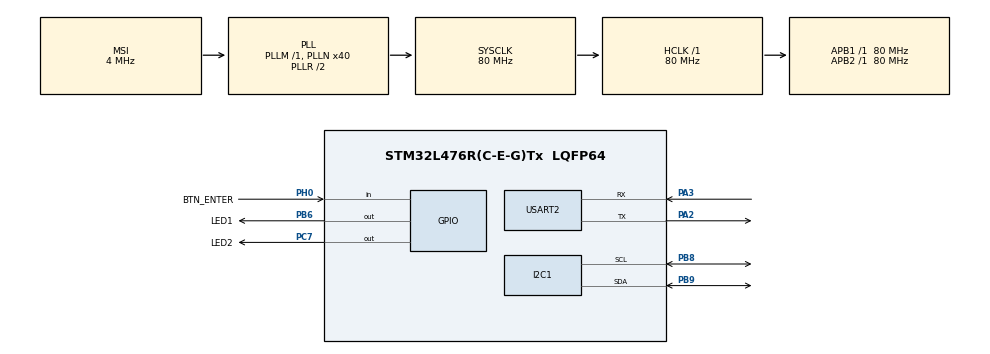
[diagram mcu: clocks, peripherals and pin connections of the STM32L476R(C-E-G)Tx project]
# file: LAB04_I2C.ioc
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I2C1.Timing=0x10D19CE4
Mcu.Family=STM32L4
Mcu.Name=STM32L476R(C-E-G)Tx
Mcu.Package=LQFP64
NVIC.PriorityGroup=NVIC_PRIORITYGROUP_4
PA2.Mode=Asynchronous
PA2.Signal=USART2_TX
PA3.Mode=Asynchronous
PA3.Signal=USART2_RX
PB6.GPIO_Label=LED1
PB6.Signal=GPIO_Output
PB8.Mode=I2C
PB8.Signal=I2C1_SCL
PB9.Mode=I2C
PB9.Signal=I2C1_SDA
PC7.GPIO_Label=LED2
PC7.Signal=GPIO_Output
PH0-OSC_IN\ (PH0).GPIO_Label=BTN_ENTER
PH0-OSC_IN\ (PH0).Signal=GPIO_Input
ProjectManager.HeapSize=0x200
ProjectManager.StackSize=0x400
ProjectManager.TargetToolchain=CMake
RCC.AHBFreq_Value=80000000
RCC.APB1Freq_Value=80000000
RCC.APB1TimFreq_Value=80000000
RCC.APB2Freq_Value=80000000
RCC.APB2TimFreq_Value=80000000
RCC.CortexFreq_Value=80000000
RCC.HCLKFreq_Value=80000000
RCC.HSE_VALUE=8000000
RCC.HSI_VALUE=16000000
RCC.LSE_VALUE=32768
RCC.MSI_VALUE=4000000
RCC.PLLN=40
RCC.SYSCLKFreq_VALUE=80000000
RCC.SYSCLKSource=RCC_SYSCLKSOURCE_PLLCLK
RCC.VCOOutputFreq_Value=160000000
USART2.VirtualMode-Asynchronous=VM_ASYNC
board=custom

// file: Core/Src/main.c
/* USER CODE BEGIN Header */
/**
 * @file main.c
 * @brief STTS22H Driver Testbench
 * @author Philipp Schilk, 2023
 */
/* USER CODE END Header */
#include "main.h"

/* USER CODE BEGIN Includes */
#include "stts22h_driver.h"
#include <inttypes.h>
#include <stdio.h>
/* USER CODE END Includes */

I2C_HandleTypeDef hi2c1;

UART_HandleTypeDef huart2;

void SystemClock_Config(void);
static void MX_GPIO_Init(void);
static void MX_USART2_UART_Init(void);
static void MX_I2C1_Init(void);
/* USER CODE BEGIN PFP */
void test_driver(void);
void wait_for_button_press(void);

/* USER CODE END PFP */

int main(void)
{

  /* MCU Configuration--------------------------------------------------------*/

  /* Reset of all peripherals, Initializes the Flash interface and the Systick. */
  HAL_Init();

  /* Configure the system clock */
  SystemClock_Config();

  /* Initialize all configured peripherals */
  MX_GPIO_Init();
  MX_USART2_UART_Init();
  MX_I2C1_Init();
  /* USER CODE BEGIN 2 */

  test_driver();

  /* USER CODE END 2 */

  /* Infinite loop */
  while (1) {

  }
}

void SystemClock_Config(void)
{
  RCC_OscInitTypeDef RCC_OscInitStruct = {0};
  RCC_ClkInitTypeDef RCC_ClkInitStruct = {0};

  /** Configure the main internal regulator output voltage
  */
  if (HAL_PWREx_ControlVoltageScaling(PWR_REGULATOR_VOLTAGE_SCALE1) != HAL_OK)
  {
    Error_Handler();
  }

  /** Initializes the RCC Oscillators according to the specified parameters
  * in the RCC_OscInitTypeDef structure.
  */
  RCC_OscInitStruct.OscillatorType = RCC_OSCILLATORTYPE_MSI;
  RCC_OscInitStruct.MSIState = RCC_MSI_ON;
  RCC_OscInitStruct.MSICalibrationValue = 0;
  RCC_OscInitStruct.MSIClockRange = RCC_MSIRANGE_6;
  RCC_OscInitStruct.PLL.PLLState = RCC_PLL_ON;
  RCC_OscInitStruct.PLL.PLLSource = RCC_PLLSOURCE_MSI;
  RCC_OscInitStruct.PLL.PLLM = 1;
  RCC_OscInitStruct.PLL.PLLN = 40;
  RCC_OscInitStruct.PLL.PLLP = RCC_PLLP_DIV7;
  RCC_OscInitStruct.PLL.PLLQ = RCC_PLLQ_DIV2;
  RCC_OscInitStruct.PLL.PLLR = RCC_PLLR_DIV2;
  if (HAL_RCC_OscConfig(&RCC_OscInitStruct) != HAL_OK)
  {
    Error_Handler();
  }

  /** Initializes the CPU, AHB and APB buses clocks
  */
  RCC_ClkInitStruct.ClockType = RCC_CLOCKTYPE_HCLK|RCC_CLOCKTYPE_SYSCLK
                              |RCC_CLOCKTYPE_PCLK1|RCC_CLOCKTYPE_PCLK2;
  RCC_ClkInitStruct.SYSCLKSource = RCC_SYSCLKSOURCE_PLLCLK;
  RCC_ClkInitStruct.AHBCLKDivider = RCC_SYSCLK_DIV1;
  RCC_ClkInitStruct.APB1CLKDivider = RCC_HCLK_DIV1;
  RCC_ClkInitStruct.APB2CLKDivider = RCC_HCLK_DIV1;

  if (HAL_RCC_ClockConfig(&RCC_ClkInitStruct, FLASH_LATENCY_4) != HAL_OK)
  {
    Error_Handler();
  }
}

static void MX_I2C1_Init(void)
{

  hi2c1.Instance = I2C1;
  hi2c1.Init.Timing = 0x10D19CE4;
  hi2c1.Init.OwnAddress1 = 0;
  hi2c1.Init.AddressingMode = I2C_ADDRESSINGMODE_7BIT;
  hi2c1.Init.DualAddressMode = I2C_DUALADDRESS_DISABLE;
  hi2c1.Init.OwnAddress2 = 0;
  hi2c1.Init.OwnAddress2Masks = I2C_OA2_NOMASK;
  hi2c1.Init.GeneralCallMode = I2C_GENERALCALL_DISABLE;
  hi2c1.Init.NoStretchMode = I2C_NOSTRETCH_DISABLE;
  if (HAL_I2C_Init(&hi2c1) != HAL_OK)
  {
    Error_Handler();
  }

  /** Configure Analogue filter
  */
  if (HAL_I2CEx_ConfigAnalogFilter(&hi2c1, I2C_ANALOGFILTER_ENABLE) != HAL_OK)
  {
    Error_Handler();
  }

  /** Configure Digital filter
  */
  if (HAL_I2CEx_ConfigDigitalFilter(&hi2c1, 0) != HAL_OK)
  {
    Error_Handler();
  }

}

static void MX_USART2_UART_Init(void)
{

  huart2.Instance = USART2;
  huart2.Init.BaudRate = 115200;
  huart2.Init.WordLength = UART_WORDLENGTH_8B;
  huart2.Init.StopBits = UART_STOPBITS_1;
  huart2.Init.Parity = UART_PARITY_NONE;
  huart2.Init.Mode = UART_MODE_TX_RX;
  huart2.Init.HwFlowCtl = UART_HWCONTROL_NONE;
  huart2.Init.OverSampling = UART_OVERSAMPLING_16;
  huart2.Init.OneBitSampling = UART_ONE_BIT_SAMPLE_DISABLE;
  huart2.AdvancedInit.AdvFeatureInit = UART_ADVFEATURE_NO_INIT;
  if (HAL_UART_Init(&huart2) != HAL_OK)
  {
    Error_Handler();
  }

}

static void MX_GPIO_Init(void)
{
  GPIO_InitTypeDef GPIO_InitStruct = {0};

  /* GPIO Ports Clock Enable */
  __HAL_RCC_GPIOH_CLK_ENABLE();
  __HAL_RCC_GPIOA_CLK_ENABLE();
  __HAL_RCC_GPIOC_CLK_ENABLE();
  __HAL_RCC_GPIOB_CLK_ENABLE();

  /*Configure GPIO pin Output Level */
  HAL_GPIO_WritePin(LED2_GPIO_Port, LED2_Pin, GPIO_PIN_RESET);

  /*Configure GPIO pin Output Level */
  HAL_GPIO_WritePin(LED1_GPIO_Port, LED1_Pin, GPIO_PIN_RESET);

  /*Configure GPIO pin : BTN_ENTER_Pin */
  GPIO_InitStruct.Pin = BTN_ENTER_Pin;
  GPIO_InitStruct.Mode = GPIO_MODE_INPUT;
  GPIO_InitStruct.Pull = GPIO_NOPULL;
  HAL_GPIO_Init(BTN_ENTER_GPIO_Port, &GPIO_InitStruct);

  /*Configure GPIO pin : LED2_Pin */
  GPIO_InitStruct.Pin = LED2_Pin;
  GPIO_InitStruct.Mode = GPIO_MODE_OUTPUT_PP;
  GPIO_InitStruct.Pull = GPIO_NOPULL;
  GPIO_InitStruct.Speed = GPIO_SPEED_FREQ_LOW;
  HAL_GPIO_Init(LED2_GPIO_Port, &GPIO_InitStruct);

  /*Configure GPIO pin : LED1_Pin */
  GPIO_InitStruct.Pin = LED1_Pin;
  GPIO_InitStruct.Mode = GPIO_MODE_OUTPUT_PP;
  GPIO_InitStruct.Pull = GPIO_NOPULL;
  GPIO_InitStruct.Speed = GPIO_SPEED_FREQ_LOW;
  HAL_GPIO_Init(LED1_GPIO_Port, &GPIO_InitStruct);

}

/* USER CODE BEGIN 4 */

void test_driver(void) {

  printf("Press enter button to test sensor communication...\r\n");
  wait_for_button_press();

  // ==== 1: Check if communication is OK ====

  // TODO: Call your completed stts22h_check_communication() function.
  //       If it returns an error, print an error message using printf and
  //       call the Error_Handler() function. Otherwise print a confirmation
  //       message that the sensor communication is OK.
  if(stts22h_check_communication() == STTS22H_OK){
    printf("Sensor communication OK!\r\n");
  } else {
    printf("Sensor communication ERROR!\r\n");
    Error_Handler();
  }

  printf("Press enter button to test free-run mode...\r\n");
  wait_for_button_press();

  // ==== 2: Configure in free-run mode ====
  // TODO: Call your completed stts22h_configure() function to put the
  //       temperature sensor into free-run mode at an output data rate of 25Hz.
  //       If it returns an error, print an error message using printf and
  //       call the Error_Handler() function. Otherwise print a confirmation
  //       message that the sensor was configured correctly.
  if(stts22h_configure( STTS22H_MODE_FREERUN_25HZ) == STTS22H_OK){
    printf("Sensor configured to free-run mode at 25Hz output data rate!\r\n");
  } else {
    printf("Sensor configuration ERROR!\r\n");
    Error_Handler();
  }

  HAL_Delay(100);

  // ==== 3: Read temperature 20 times ====
  for (unsigned int i = 0; i < 20; i++) {
    HAL_Delay(500);

    int16_t temp_centidegree = 0;
    // TODO: Use your stts22h_read_temp() function to retrieve the
    //       latest temperature measurement from the stts22h. If it returns
    //       an error, use printf to print an error message and call
    //       the Error_Handler() function.
      if(stts22h_read_temp(&temp_centidegree) != STTS22H_OK){
        printf("Failed to read temperature measurement from sensor!\r\n");
        Error_Handler();
      }

    // TODO: Convert temp_centidegree value to actual degrees:
    float temp_degress = 0;
    temp_degress = (float)temp_centidegree / 100.0f;

    printf("[%u/20] Current temperature: %.2f\r\n", i + 1, temp_degress);
  }

  printf("Press enter button to test one-shot mode...\r\n");
  wait_for_button_press();

  // ==== 4: Configure in one-shot mode ====
  // TODO: Call your completed stts22h_configure() function to put the
  //       temperature sensor into one-shot mode.
  //       If it returns an error, print an error message using printf and
  //       call the Error_Handler() function. Otherwise print a confirmation
  //       message that the sensor was configured correctly.
  if(stts22h_configure( STTS22H_MODE_ONE_SHOT) == STTS22H_OK){
    printf("Sensor configured to one-shot mode!\r\n");
  } else {
    printf("Sensor configuration ERROR!\r\n");
    Error_Handler();
  }

  // ==== 5: On button press: trigger measurement, wait for completion, print result ====
  while (1) {

    // Trigger measurement:
    // TODO: Call your completed stts22h_trigger_oneshot() function to
    //       trigger a single measurement.
    //       If it returns an error, print an error message using printf and
    //       call the Error_Handler() function. Otherwise print a confirmation
    //       message that a measurement was triggered.
    if(stts22h_trigger_oneshot() == STTS22H_OK){
      printf("One-shot measurement triggered!\r\n");
    } else {
      printf("Failed to trigger one-shot measurement!\r\n");
      Error_Handler();
    }

    // Wait for measurement to be completed:
    uint32_t cnt = 0;
    while (1) {
      HAL_Delay(10);

      bool is_busy = false;
      // TODO: Call your stts22h_check_is_busy function to determine if the
      //       measurement you triggered is completed. If it returns an error,
      //       use printf to print an error message.
if (stts22h_check_is_busy(&is_busy) != STTS22H_OK) {
  printf("Failed to check if sensor is busy!\r\n");
  Error_Handler();
}
      if (!is_busy) {
        break; // Measurement done.
      }

      // Timeout:
      cnt++;
      if (cnt > 20) {
        printf("ERROR: One-shot measurement took too long to complete!\r\n");
        Error_Handler();
      }
    }

    // Retrieve & print measurement:
    int16_t temp_centidegree = 0;
    // TODO Retrieve the current temperature, convert it to degrees, and
    //      print it to the console (just like you did before).
    if(stts22h_read_temp(&temp_centidegree) != STTS22H_OK){
      printf("Failed to read temperature measurement from sensor!\r\n");
      Error_Handler();
    }

    // Convert to degrees and print:
    float temp_degrees = (float)temp_centidegree / 100.0f;
    printf("One-shot measurement: %.2f °C\r\n", temp_degrees);

    // Wait for button to be pressed before doing another one-shot measurement:
    printf("Press enter to test one-shot measurement...\r\n");
    wait_for_button_press();
  }
}

void wait_for_button_press(void) {
  // If the button is already pressed, wait for button to be released:
  while (HAL_GPIO_ReadPin(BTN_ENTER_GPIO_Port, BTN_ENTER_Pin) == GPIO_PIN_RESET) {
  }
  // Wait for the button to be released:
  while (HAL_GPIO_ReadPin(BTN_ENTER_GPIO_Port, BTN_ENTER_Pin) == GPIO_PIN_SET) {
  }
}

/* USER CODE END 4 */

void Error_Handler(void)
{
  /* USER CODE BEGIN Error_Handler_Debug */
  /* User can add his own implementation to report the HAL error return state */
  HAL_GPIO_WritePin(LED1_GPIO_Port, LED1_Pin, 0);
  HAL_GPIO_WritePin(LED2_GPIO_Port, LED2_Pin, 1);
  while (1) {
    HAL_GPIO_TogglePin(LED1_GPIO_Port, LED1_Pin);
    HAL_GPIO_TogglePin(LED2_GPIO_Port, LED2_Pin);
    HAL_Delay(1000);

    printf("Stuck in error handler :(...\r\n");
  }
  /* USER CODE END Error_Handler_Debug */
}
